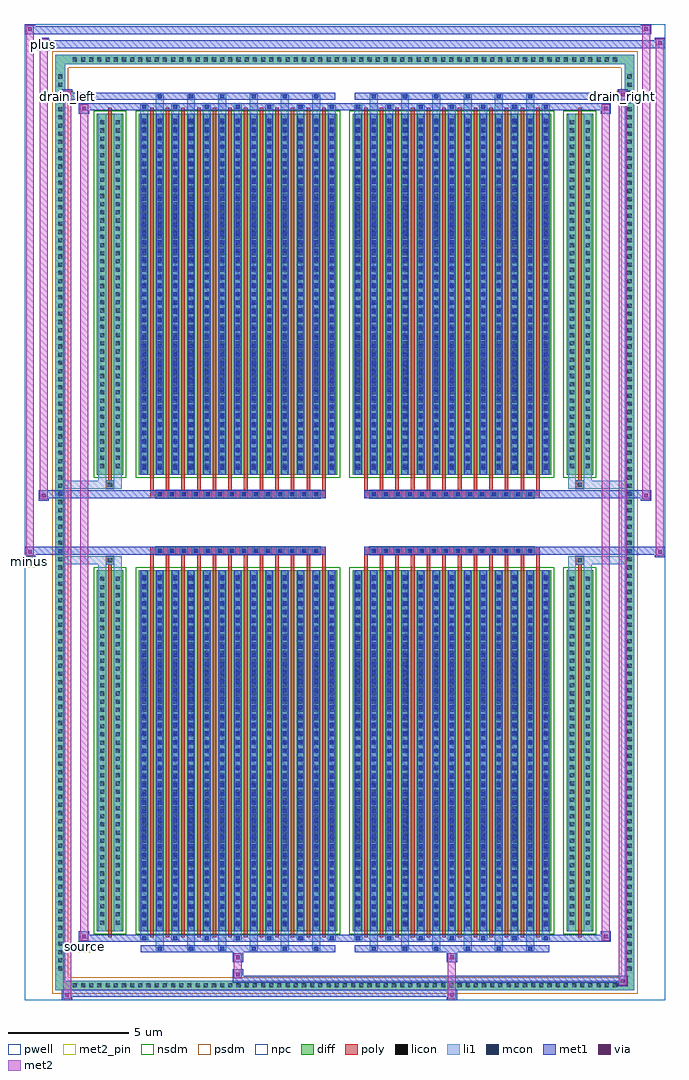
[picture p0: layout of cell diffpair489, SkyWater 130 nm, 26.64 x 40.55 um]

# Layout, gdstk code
import gdstk
lib = gdstk.Library(unit=1e-6, precision=5e-09)
def R(c, l, rs):  # rectangles x0, y0, x1, y1
    for r in rs: c.add(gdstk.rectangle(r[:2], r[2:], *l))
def A(c, l, x, y, w, h, nx, ny, dx, dy):  # array of equal rectangles
    R(c, l, [(x+i*dx, y+j*dy, x+i*dx+w, y+j*dy+h) for i in range(nx) for j in range(ny)])
def P(c, l, *ps):  # polygons
    for p in ps: c.add(gdstk.Polygon(p, *l))
pwell = (64, 44)
diff = (65, 20)
poly = (66, 20)
licon = (66, 44)
li1 = (67, 20)
mcon = (67, 44)
met1 = (68, 20)
via = (68, 44)
met2_pin = (69, 16)
met2 = (69, 20)
nsdm = (93, 44)
psdm = (94, 20)
npc = (95, 20)

diffpair489 = lib.new_cell('diffpair489')
R(diffpair489, pwell, [(-13.3,-19.84,13.3,20.71), (-10.62,-18.03,-0.01,-0.805), (0.01,-18.03,10.62,-0.805), (-10.62,0.805,-0.01,18.03), (0.01,0.805,10.62,18.03)])
A(diffpair489, diff, -11.425, -19.44, 0.41, 0.41, 67, 2, 0.34, 38.47)
A(diffpair489, diff, -12.03, -18.735, 0.41, 0.41, 1, 110, 0, 0.34)
A(diffpair489, diff, 11.62, -18.735, 0.41, 0.41, 1, 110, 0, 0.34)
R(diffpair489, diff, [(-11.425,-19.44,11.425,-19.03), (-12.03,-18.735,-11.62,18.735), (11.62,-18.735,12.03,18.735), (-10.31,-16.985,-9.21,-1.985), (-8.57,-16.985,-0.32,-1.985), (0.32,-16.985,8.57,-1.985), (9.21,-16.985,10.31,-1.985), (-10.31,1.985,-9.21,16.985), (-8.57,1.985,-0.32,16.985), (0.32,1.985,8.57,16.985), (9.21,1.985,10.31,16.985), (-11.425,19.03,11.425,19.44)])
P(diffpair489, diff, [(12.03,19.44),(-12.03,19.44),(-12.03,-19.03),(-11.62,-19.03),(-11.62,19.03),(11.62,19.03),(11.62,-19.03),(-11.62,-19.03),(-12.03,-19.03),(-12.03,-19.44),(12.03,-19.44)])
A(diffpair489, poly, -8.095, -17.235, 0.15, 15.5, 12, 2, 0.65, 18.97)
A(diffpair489, poly, 0.795, -17.235, 0.15, 15.5, 12, 2, 0.65, 18.97)
A(diffpair489, poly, -8.095, -1.735, 0.15, 0.4, 12, 2, 0.65, 3.07)
A(diffpair489, poly, 0.795, -1.735, 0.15, 0.4, 12, 2, 0.65, 3.07)
A(diffpair489, poly, -7.86, -1.335, 0.33, 0.33, 14, 2, 0.5, 2.34)
A(diffpair489, poly, 1.03, -1.335, 0.33, 0.33, 14, 2, 0.5, 2.34)
R(diffpair489, poly, [(-9.835,-17.235,-9.685,-1.735), (9.685,-17.235,9.835,-1.735), (-9.925,-1.735,-9.595,-1.405), (-9.925,-1.735,-9.595,-1.405), (9.595,-1.735,9.925,-1.405), (9.595,-1.735,9.925,-1.405), (-8.095,-1.335,-0.795,-1.005), (0.795,-1.335,8.095,-1.005), (-8.095,1.005,-0.795,1.335), (0.795,1.005,8.095,1.335), (-9.925,1.405,-9.595,1.735), (-9.925,1.405,-9.595,1.735), (9.595,1.405,9.925,1.735), (9.595,1.405,9.925,1.735), (-9.835,1.735,-9.685,17.235), (9.685,1.735,9.835,17.235)])
A(diffpair489, licon, -11.305, -19.32, 0.17, 0.17, 67, 2, 0.34, 38.47)
A(diffpair489, licon, -11.91, -18.615, 0.17, 0.17, 1, 110, 0, 0.34)
A(diffpair489, licon, 11.74, -18.615, 0.17, 0.17, 1, 110, 0, 0.34)
A(diffpair489, licon, -10.17, -16.71, 0.17, 0.17, 1, 43, 0, 0.34)
A(diffpair489, licon, -9.52, -16.71, 0.17, 0.17, 1, 43, 0, 0.34)
A(diffpair489, licon, -8.43, -16.71, 0.17, 0.17, 13, 43, 0.65, 0.34)
A(diffpair489, licon, 0.46, -16.71, 0.17, 0.17, 13, 43, 0.65, 0.34)
A(diffpair489, licon, 9.35, -16.71, 0.17, 0.17, 1, 43, 0, 0.34)
A(diffpair489, licon, 10, -16.71, 0.17, 0.17, 1, 43, 0, 0.34)
A(diffpair489, licon, -7.78, -1.255, 0.17, 0.17, 14, 2, 0.5, 2.34)
A(diffpair489, licon, 1.11, -1.255, 0.17, 0.17, 14, 2, 0.5, 2.34)
A(diffpair489, licon, -10.17, 2.26, 0.17, 0.17, 1, 43, 0, 0.34)
A(diffpair489, licon, -9.52, 2.26, 0.17, 0.17, 1, 43, 0, 0.34)
A(diffpair489, licon, -8.43, 2.26, 0.17, 0.17, 13, 43, 0.65, 0.34)
A(diffpair489, licon, 0.46, 2.26, 0.17, 0.17, 13, 43, 0.65, 0.34)
A(diffpair489, licon, 9.35, 2.26, 0.17, 0.17, 1, 43, 0, 0.34)
A(diffpair489, licon, 10, 2.26, 0.17, 0.17, 1, 43, 0, 0.34)
R(diffpair489, licon, [(-9.845,-1.655,-9.675,-1.485), (9.675,-1.655,9.845,-1.485), (-9.845,1.485,-9.675,1.655), (9.675,1.485,9.845,1.655)])
A(diffpair489, li1, -11.385, -19.4, 0.33, 0.33, 67, 2, 0.34, 38.47)
A(diffpair489, li1, -11.99, -18.695, 0.33, 0.33, 1, 110, 0, 0.34)
A(diffpair489, li1, 11.66, -18.695, 0.33, 0.33, 1, 110, 0, 0.34)
A(diffpair489, li1, -7.86, -17.79, 0.33, 0.805, 6, 2, 1.3, 34.775)
A(diffpair489, li1, -7.78, -17.79, 0.17, 0.17, 6, 2, 1.3, 35.41)
A(diffpair489, li1, 1.03, -17.79, 0.33, 0.805, 6, 2, 1.3, 34.775)
A(diffpair489, li1, 1.11, -17.79, 0.17, 0.17, 6, 2, 1.3, 35.41)
A(diffpair489, li1, -8.51, -17.36, 0.33, 0.375, 7, 2, 1.3, 34.345)
A(diffpair489, li1, -8.43, -17.36, 0.17, 0.17, 7, 2, 1.3, 34.55)
A(diffpair489, li1, 0.38, -17.36, 0.33, 0.375, 7, 2, 1.3, 34.345)
A(diffpair489, li1, 0.46, -17.36, 0.17, 0.17, 7, 2, 1.3, 34.55)
A(diffpair489, li1, -8.51, -16.985, 0.33, 15, 13, 2, 0.65, 18.97)
A(diffpair489, li1, 0.38, -16.985, 0.33, 15, 13, 2, 0.65, 18.97)
A(diffpair489, li1, -10.25, -16.79, 0.33, 0.33, 1, 43, 0, 0.34)
A(diffpair489, li1, -9.6, -16.79, 0.33, 0.33, 1, 43, 0, 0.34)
A(diffpair489, li1, -8.51, -16.79, 0.33, 0.33, 13, 43, 0.65, 0.34)
A(diffpair489, li1, 0.38, -16.79, 0.33, 0.33, 13, 43, 0.65, 0.34)
A(diffpair489, li1, 9.27, -16.79, 0.33, 0.33, 1, 43, 0, 0.34)
A(diffpair489, li1, 9.92, -16.79, 0.33, 0.33, 1, 43, 0, 0.34)
A(diffpair489, li1, -8.43, -16.77, 0.17, 0.17, 13, 41, 0.65, 0.36)
A(diffpair489, li1, -8.43, -16.77, 0.17, 14.57, 13, 2, 0.65, 18.97)
A(diffpair489, li1, 0.46, -16.77, 0.17, 0.17, 13, 41, 0.65, 0.36)
A(diffpair489, li1, 0.46, -16.77, 0.17, 14.57, 13, 2, 0.65, 18.97)
A(diffpair489, li1, -7.86, -1.335, 0.33, 0.33, 14, 2, 0.5, 2.34)
A(diffpair489, li1, 1.03, -1.335, 0.33, 0.33, 14, 2, 0.5, 2.34)
A(diffpair489, li1, -10.25, 2.18, 0.33, 0.33, 1, 43, 0, 0.34)
A(diffpair489, li1, -9.6, 2.18, 0.33, 0.33, 1, 43, 0, 0.34)
A(diffpair489, li1, -8.51, 2.18, 0.33, 0.33, 13, 43, 0.65, 0.34)
A(diffpair489, li1, 0.38, 2.18, 0.33, 0.33, 13, 43, 0.65, 0.34)
A(diffpair489, li1, 9.27, 2.18, 0.33, 0.33, 1, 43, 0, 0.34)
A(diffpair489, li1, 9.92, 2.18, 0.33, 0.33, 1, 43, 0, 0.34)
A(diffpair489, li1, -8.43, 2.2, 0.17, 0.17, 13, 41, 0.65, 0.36)
A(diffpair489, li1, 0.46, 2.2, 0.17, 0.17, 13, 41, 0.65, 0.36)
R(diffpair489, li1, [(-12.03,-19.44,-11.62,-19.03), (-12.03,-19.44,-11.62,-19.03), (-11.62,-19.44,11.62,-19.03), (11.62,-19.44,12.03,-19.03), (11.62,-19.44,12.03,-19.03), (-12.03,-19.03,-11.62,19.03), (11.62,-19.03,12.03,19.03), (-10.25,-16.985,-9.92,-1.985), (-9.6,-16.985,-9.27,-1.985), (9.27,-16.985,9.6,-1.985), (9.92,-16.985,10.25,-1.985), (-10.25,-1.985,-9.92,-1.405), (-9.6,-1.985,-9.27,-1.405), (9.27,-1.985,9.6,-1.405), (9.92,-1.985,10.25,-1.405), (-12.03,-1.735,-9.925,-1.405), (-10.25,-1.735,-9.925,-1.405), (-9.925,-1.735,-9.595,-1.405), (-9.595,-1.735,-9.27,-1.405), (9.27,-1.735,9.595,-1.405), (9.595,-1.735,9.925,-1.405), (9.595,-1.735,12.03,-1.405), (9.925,-1.735,10.25,-1.405), (-12.03,1.405,-9.925,1.735), (-10.25,1.405,-9.925,1.735), (-10.25,1.405,-9.92,1.985), (-9.925,1.405,-9.595,1.735), (-9.6,1.405,-9.27,1.985), (-9.595,1.405,-9.27,1.735), (9.27,1.405,9.595,1.735), (9.27,1.405,9.6,1.985), (9.595,1.405,9.925,1.735), (9.595,1.405,12.03,1.735), (9.92,1.405,10.25,1.985), (9.925,1.405,10.25,1.735), (-10.25,1.985,-9.92,16.985), (-9.6,1.985,-9.27,16.985), (9.27,1.985,9.6,16.985), (9.92,1.985,10.25,16.985), (-12.03,19.03,-11.62,19.44), (-12.03,19.03,-11.62,19.44), (-11.62,19.03,11.62,19.44), (11.62,19.03,12.03,19.44), (11.62,19.03,12.03,19.44)])
A(diffpair489, mcon, -7.78, -17.79, 0.17, 0.17, 6, 2, 1.3, 35.41)
A(diffpair489, mcon, 1.11, -17.79, 0.17, 0.17, 6, 2, 1.3, 35.41)
A(diffpair489, mcon, -8.43, -17.36, 0.17, 0.17, 7, 2, 1.3, 34.55)
A(diffpair489, mcon, 0.46, -17.36, 0.17, 0.17, 7, 2, 1.3, 34.55)
A(diffpair489, mcon, -8.43, -16.77, 0.17, 0.17, 13, 41, 0.65, 0.36)
A(diffpair489, mcon, 0.46, -16.77, 0.17, 0.17, 13, 41, 0.65, 0.36)
A(diffpair489, mcon, -7.78, -1.255, 0.17, 0.17, 14, 2, 0.5, 2.34)
A(diffpair489, mcon, 1.11, -1.255, 0.17, 0.17, 14, 2, 0.5, 2.34)
A(diffpair489, mcon, -8.43, 2.2, 0.17, 0.17, 13, 41, 0.65, 0.36)
A(diffpair489, mcon, 0.46, 2.2, 0.17, 0.17, 13, 41, 0.65, 0.36)
A(diffpair489, met1, -7.84, -17.85, 0.29, 0.29, 6, 2, 1.3, 35.41)
A(diffpair489, met1, 1.05, -17.85, 0.29, 0.29, 6, 2, 1.3, 35.41)
A(diffpair489, met1, -8.49, -17.42, 0.29, 0.29, 7, 2, 1.3, 34.55)
A(diffpair489, met1, 0.4, -17.42, 0.29, 0.29, 7, 2, 1.3, 34.55)
A(diffpair489, met1, -8.49, -16.985, 0.29, 15, 13, 2, 0.65, 18.97)
A(diffpair489, met1, 0.4, -16.985, 0.29, 15, 13, 2, 0.65, 18.97)
A(diffpair489, met1, -8.49, -16.83, 0.29, 0.29, 13, 41, 0.65, 0.36)
A(diffpair489, met1, 0.4, -16.83, 0.29, 0.29, 13, 41, 0.65, 0.36)
A(diffpair489, met1, -7.84, -1.315, 0.29, 0.29, 14, 2, 0.5, 2.34)
A(diffpair489, met1, 1.05, -1.315, 0.29, 0.29, 14, 2, 0.5, 2.34)
A(diffpair489, met1, -8.49, 2.14, 0.29, 0.29, 13, 41, 0.65, 0.36)
A(diffpair489, met1, 0.4, 2.14, 0.29, 0.29, 13, 41, 0.65, 0.36)
R(diffpair489, met1, [(-11.76,-19.84,-11.33,-19.41), (4.23,-19.84,4.66,-19.41), (-11.76,-19.7,4.66,-19.41), (11.33,-19.27,11.76,-18.84), (-4.66,-19.13,11.76,-18.84), (-4.66,-18.99,-4.23,-18.56), (-4.66,-18.28,-4.23,-17.85), (4.23,-18.28,4.66,-17.85), (-8.49,-17.85,-0.4,-17.56), (0.4,-17.85,8.49,-17.56), (-11.05,-17.42,-10.62,-16.99), (-11.05,-17.42,-8.49,-17.13), (-8.49,-17.42,-0.4,-17.13), (-0.4,-17.42,0.4,-17.13), (0.4,-17.42,8.49,-17.13), (8.49,-17.42,11.05,-17.13), (10.62,-17.42,11.05,-16.99), (-13.3,-1.435,-12.87,-1.005), (12.87,-1.435,13.3,-1.005), (-13.3,-1.335,-0.795,-1.005), (-8.095,-1.335,-0.795,-1.005), (0.795,-1.335,8.095,-1.005), (0.795,-1.335,13.3,-1.005), (-12.73,0.905,-12.3,1.335), (12.3,0.905,12.73,1.335), (-12.73,1.005,-8.095,1.335), (-8.095,1.005,-0.795,1.335), (0.795,1.005,8.095,1.335), (8.095,1.005,12.73,1.335), (-11.05,16.99,-10.62,17.42), (10.62,16.99,11.05,17.42), (-11.05,17.13,-8.49,17.42), (-8.49,17.13,-0.4,17.42), (-0.4,17.13,0.4,17.42), (0.4,17.13,8.49,17.42), (8.49,17.13,11.05,17.42), (-11.76,17.56,-11.33,17.99), (-11.76,17.56,-8.49,17.85), (-8.49,17.56,-0.4,17.85), (0.4,17.56,8.49,17.85), (8.49,17.56,11.76,17.85), (11.33,17.56,11.76,17.99), (-12.73,19.71,-12.3,20.14), (-12.73,19.71,-10.62,20.04), (-10.62,19.71,10.62,20.04), (10.62,19.71,13.3,20.04), (12.87,19.71,13.3,20.14), (-13.3,20.28,-12.87,20.71), (-13.3,20.28,-10.62,20.61), (-10.62,20.28,10.62,20.61), (10.62,20.28,12.73,20.61), (12.3,20.28,12.73,20.71)])
R(diffpair489, via, [(-11.62,-19.7,-11.47,-19.55), (4.37,-19.7,4.52,-19.55), (11.47,-19.13,11.62,-18.98), (-4.52,-18.85,-4.37,-18.7), (-4.52,-18.14,-4.37,-17.99), (4.37,-18.14,4.52,-17.99), (-10.91,-17.28,-10.76,-17.13), (10.76,-17.28,10.91,-17.13), (-13.16,-1.295,-13.01,-1.145), (13.01,-1.295,13.16,-1.145), (-12.59,1.045,-12.44,1.195), (12.44,1.045,12.59,1.195), (-10.91,17.13,-10.76,17.28), (10.76,17.13,10.91,17.28), (-11.62,17.7,-11.47,17.85), (11.47,17.7,11.62,17.85), (-12.59,19.85,-12.44,20), (13.01,19.85,13.16,20), (-13.16,20.42,-13.01,20.57), (12.44,20.42,12.59,20.57)])
R(diffpair489, met2_pin, [(-11.085,-17.87,-10.585,-17.37), (-13.335,-1.885,-12.835,-1.385), (-11.795,17.44,-11.295,17.94), (11.295,17.44,11.795,17.94), (-12.765,19.59,-12.265,20.09)])
R(diffpair489, met2, [(-11.71,-19.79,-11.38,-19.46), (-11.71,-19.79,-11.38,17.94), (4.28,-19.79,4.61,-19.46), (4.28,-19.46,4.61,-18.23), (11.38,-19.22,11.71,-18.89), (11.38,-19.22,11.71,17.94), (-4.61,-18.94,-4.28,-18.61), (-4.61,-18.61,-4.28,-18.23), (-4.61,-18.23,-4.28,-17.9), (4.28,-18.23,4.61,-17.9), (-11,-17.37,-10.67,-17.04), (-11,-17.37,-10.67,17.37), (10.67,-17.37,11,-17.04), (10.67,-17.37,11,17.37), (-13.25,-1.385,-12.92,-1.055), (-13.25,-1.385,-12.92,20.66), (12.92,-1.385,13.25,-1.055), (12.92,-1.385,13.25,20.09), (-12.68,0.955,-12.35,1.285), (-12.68,0.955,-12.35,20.09), (12.35,0.955,12.68,1.285), (12.35,0.955,12.68,20.66), (-11,17.04,-10.67,17.37), (10.67,17.04,11,17.37), (-11.71,17.61,-11.38,17.94), (11.38,17.61,11.71,17.94), (-12.68,19.76,-12.35,20.09), (12.92,19.76,13.25,20.09), (-13.25,20.33,-12.92,20.66), (12.35,20.33,12.68,20.66)])
P(diffpair489, met2, [(13.25,-1.385),(13.25,-1.385),(13.25,-1.055),(13.25,-1.055)],
  [(13.25,19.76),(13.25,19.76),(13.25,20.09),(13.25,20.09)],
  [(-12.92,-1.385),(-12.92,-1.385),(-12.92,-1.055),(-12.92,-1.055)],
  [(-12.92,20.33),(-12.92,20.33),(-12.92,20.66),(-12.92,20.66)],
  [(12.68,0.955),(12.68,0.955),(12.68,1.285),(12.68,1.285)],
  [(12.68,20.33),(12.68,20.33),(12.68,20.66),(12.68,20.66)],
  [(-12.35,0.955),(-12.35,0.955),(-12.35,1.285),(-12.35,1.285)],
  [(-12.35,19.76),(-12.35,19.76),(-12.35,20.09),(-12.35,20.09)],
  [(-11.38,-19.79),(-11.38,-19.79),(-11.38,-19.46),(-11.38,-19.46)],
  [(-11.38,17.61),(-11.38,17.61),(-11.38,17.94),(-11.38,17.94)],
  [(11.71,-19.22),(11.71,-19.22),(11.71,-18.89),(11.71,-18.89)],
  [(11.71,17.61),(11.71,17.61),(11.71,17.94),(11.71,17.94)],
  [(-10.67,-17.37),(-10.67,-17.37),(-10.67,-17.04),(-10.67,-17.04)],
  [(-10.67,17.04),(-10.67,17.04),(-10.67,17.37),(-10.67,17.37)],
  [(11,-17.37),(11,-17.37),(11,-17.04),(11,-17.04)],
  [(11,17.04),(11,17.04),(11,17.37),(11,17.37)])
R(diffpair489, nsdm, [(-10.44,-17.115,-9.08,-1.855), (-8.7,-17.115,-0.19,-1.855), (0.19,-17.115,8.7,-1.855), (9.08,-17.115,10.44,-1.855), (-10.44,1.855,-9.08,17.115), (-8.7,1.855,-0.19,17.115), (0.19,1.855,8.7,17.115), (9.08,1.855,10.44,17.115)])
P(diffpair489, psdm, [(12.16,19.57),(-12.16,19.57),(-12.16,-18.9),(-11.49,-18.9),(-11.49,18.9),(11.49,18.9),(11.49,-18.9),(-11.49,-18.9),(-12.16,-18.9),(-12.16,-19.57),(12.16,-19.57)])
A(diffpair489, npc, -7.88, -1.355, 0.37, 0.37, 14, 2, 0.5, 2.34)
A(diffpair489, npc, 1.01, -1.355, 0.37, 0.37, 14, 2, 0.5, 2.34)
R(diffpair489, npc, [(-9.945,-1.755,-9.575,-1.385), (9.575,-1.755,9.945,-1.385), (-7.88,-1.355,-7.01,-0.985), (-7.88,-1.355,-7.01,-0.985), (-7.38,-1.355,-6.51,-0.985), (-7.38,-1.355,-6.51,-0.985), (-6.88,-1.355,-6.01,-0.985), (-6.88,-1.355,-6.01,-0.985), (-6.38,-1.355,-5.51,-0.985), (-6.38,-1.355,-5.51,-0.985), (-5.88,-1.355,-5.01,-0.985), (-5.88,-1.355,-5.01,-0.985), (-5.38,-1.355,-4.51,-0.985), (-5.38,-1.355,-4.51,-0.985), (-4.88,-1.355,-4.01,-0.985), (-4.88,-1.355,-4.01,-0.985), (-4.38,-1.355,-3.51,-0.985), (-4.38,-1.355,-3.51,-0.985), (-3.88,-1.355,-3.01,-0.985), (-3.88,-1.355,-3.01,-0.985), (-3.38,-1.355,-2.51,-0.985), (-3.38,-1.355,-2.51,-0.985), (-2.88,-1.355,-2.01,-0.985), (-2.88,-1.355,-2.01,-0.985), (-2.38,-1.355,-1.51,-0.985), (-2.38,-1.355,-1.51,-0.985), (-1.88,-1.355,-1.01,-0.985), (-1.88,-1.355,-1.01,-0.985), (1.01,-1.355,1.88,-0.985), (1.01,-1.355,1.88,-0.985), (1.51,-1.355,2.38,-0.985), (1.51,-1.355,2.38,-0.985), (2.01,-1.355,2.88,-0.985), (2.01,-1.355,2.88,-0.985), (2.51,-1.355,3.38,-0.985), (2.51,-1.355,3.38,-0.985), (3.01,-1.355,3.88,-0.985), (3.01,-1.355,3.88,-0.985), (3.51,-1.355,4.38,-0.985), (3.51,-1.355,4.38,-0.985), (4.01,-1.355,4.88,-0.985), (4.01,-1.355,4.88,-0.985), (4.51,-1.355,5.38,-0.985), (4.51,-1.355,5.38,-0.985), (5.01,-1.355,5.88,-0.985), (5.01,-1.355,5.88,-0.985), (5.51,-1.355,6.38,-0.985), (5.51,-1.355,6.38,-0.985), (6.01,-1.355,6.88,-0.985), (6.01,-1.355,6.88,-0.985), (6.51,-1.355,7.38,-0.985), (6.51,-1.355,7.38,-0.985), (7.01,-1.355,7.88,-0.985), (7.01,-1.355,7.88,-0.985), (-7.88,0.985,-7.01,1.355), (-7.88,0.985,-7.01,1.355), (-7.38,0.985,-6.51,1.355), (-7.38,0.985,-6.51,1.355), (-6.88,0.985,-6.01,1.355), (-6.88,0.985,-6.01,1.355), (-6.38,0.985,-5.51,1.355), (-6.38,0.985,-5.51,1.355), (-5.88,0.985,-5.01,1.355), (-5.88,0.985,-5.01,1.355), (-5.38,0.985,-4.51,1.355), (-5.38,0.985,-4.51,1.355), (-4.88,0.985,-4.01,1.355), (-4.88,0.985,-4.01,1.355), (-4.38,0.985,-3.51,1.355), (-4.38,0.985,-3.51,1.355), (-3.88,0.985,-3.01,1.355), (-3.88,0.985,-3.01,1.355), (-3.38,0.985,-2.51,1.355), (-3.38,0.985,-2.51,1.355), (-2.88,0.985,-2.01,1.355), (-2.88,0.985,-2.01,1.355), (-2.38,0.985,-1.51,1.355), (-2.38,0.985,-1.51,1.355), (-1.88,0.985,-1.01,1.355), (-1.88,0.985,-1.01,1.355), (1.01,0.985,1.88,1.355), (1.01,0.985,1.88,1.355), (1.51,0.985,2.38,1.355), (1.51,0.985,2.38,1.355), (2.01,0.985,2.88,1.355), (2.01,0.985,2.88,1.355), (2.51,0.985,3.38,1.355), (2.51,0.985,3.38,1.355), (3.01,0.985,3.88,1.355), (3.01,0.985,3.88,1.355), (3.51,0.985,4.38,1.355), (3.51,0.985,4.38,1.355), (4.01,0.985,4.88,1.355), (4.01,0.985,4.88,1.355), (4.51,0.985,5.38,1.355), (4.51,0.985,5.38,1.355), (5.01,0.985,5.88,1.355), (5.01,0.985,5.88,1.355), (5.51,0.985,6.38,1.355), (5.51,0.985,6.38,1.355), (6.01,0.985,6.88,1.355), (6.01,0.985,6.88,1.355), (6.51,0.985,7.38,1.355), (6.51,0.985,7.38,1.355), (7.01,0.985,7.88,1.355), (7.01,0.985,7.88,1.355), (-9.945,1.385,-9.575,1.755), (9.575,1.385,9.945,1.755)])
diffpair489.add(gdstk.Label('minus', (-13.085,-1.635), layer=69, texttype=5))
diffpair489.add(gdstk.Label('drain_right', (11.545,17.69), layer=69, texttype=5))
diffpair489.add(gdstk.Label('drain_left', (-11.545,17.69), layer=69, texttype=5))
diffpair489.add(gdstk.Label('source', (-10.835,-17.62), layer=69, texttype=5))
diffpair489.add(gdstk.Label('plus', (-12.515,19.84), layer=69, texttype=5))

lib.write_gds('diffpair489.gds')
